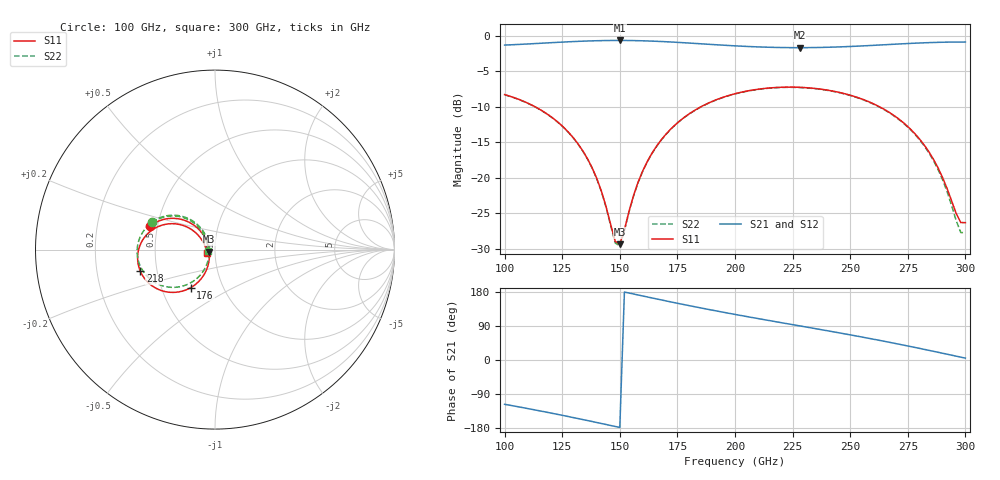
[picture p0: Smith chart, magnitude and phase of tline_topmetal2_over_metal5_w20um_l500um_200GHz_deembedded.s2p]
! Created with skrf 2.0.1 (http://scikit-rf.org).
# GHz S DB R 50.0
!freq dBS11 angS11 dBS21 angS21 dBS12 angS12 dBS22 angS22
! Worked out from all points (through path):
!   101 points, 100 GHz to 300 GHz, reference 50 ohm
!   highest |S21| = -0.65 dB at 150 GHz (marker M1); lowest = -1.7 dB at 228 GHz (marker M2)
!   group delay of S21, straight-line fit = 3.27 ps
!   lowest |S11| = -29.4 dB at 150 GHz (marker M3), VSWR 1.07, Z = 46.9 - j1.04 ohm
!   |S11| at or under -10 dB: 113.3 GHz to 185.2 GHz (71.88 GHz wide, 48.2 % of centre); 262.8 GHz to end of sweep
!   |S22| runs from -29.6 to -7.2 dB; largest |S21 - S12| = 1.1e-14
!   S11 on the Smith chart (normalised r, x): 100 GHz: 0.45, +0.14; 176 GHz: 0.70, -0.32; 218 GHz: 0.40, -0.12; 300 GHz: 0.91, -0.04
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100  -8.28 160.4  -1.30 -116.8  -1.30 -116.8  -8.29 156.7
120  -11.36 140.4  -0.97 -139.9  -0.97 -139.9  -11.38 135.9
134  -16.23 129.2  -0.75 -157.2  -0.75 -157.2  -16.26 124.0
142  -21.86 131.2  -0.67 -167.6  -0.67 -167.6  -21.92 125.4
148  -28.92 167.8  -0.65 -175.4  -0.65 -175.4  -29.16 161.8
150  -29.36 -161.0  -0.65 -178.0  -0.65 -178.0  -29.62 -166.1
158  -20.56 -114.0  -0.68 171.5  -0.68 171.5  -20.61 -119.2
162  -17.66 -112.9  -0.72 166.3  -0.72 166.3  -17.69 -118.4
168  -14.64 -115.8  -0.80 158.6  -0.80 158.6  -14.67 -121.7
176  -11.98 -122.6  -0.93 148.5  -0.93 148.5  -12.00 -128.8
186  -9.85 -132.4  -1.13 136.4  -1.13 136.4  -9.88 -139.0
200  -8.15 -146.3  -1.41 120.3  -1.41 120.3  -8.18 -153.6
218  -7.27 -163.8  -1.63 100.7  -1.63 100.7  -7.30 -171.8
228  -7.25 -173.3  -1.66 90.1  -1.66 90.1  -7.28 178.2
234  -7.38 -178.9  -1.65 83.7  -1.65 83.7  -7.41 172.3
252  -8.55 164.0  -1.47 64.1  -1.47 64.1  -8.59 154.3
268  -10.99 149.2  -1.20 45.5  -1.20 45.5  -11.05 138.4
276  -13.08 142.8  -1.07 35.8  -1.07 35.8  -13.16 131.2
284  -16.25 138.9  -0.96 25.7  -0.96 25.7  -16.39 126.3
290  -19.88 141.7  -0.90 18.0  -0.90 18.0  -20.19 127.6
298  -26.29 -178.2  -0.87 7.5  -0.87 7.5  -27.70 169.1
300  -26.31 -156.7  -0.87 4.9  -0.87 4.9  -27.72 -165.3
